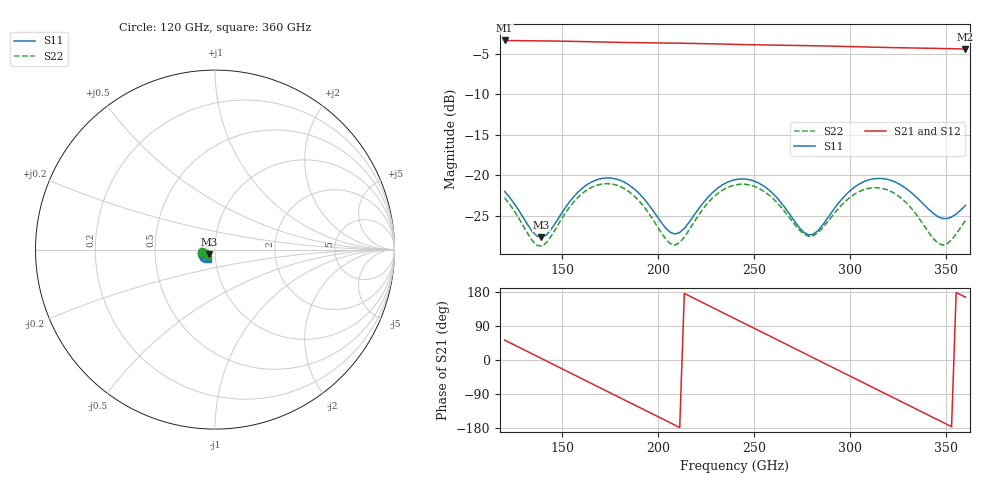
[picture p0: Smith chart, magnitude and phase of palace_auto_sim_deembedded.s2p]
! Created with skrf 1.11.0 (http://scikit-rf.org).
# GHz S DB R 50.0
!freq dBS11 angS11 dBS21 angS21 dBS12 angS12 dBS22 angS22
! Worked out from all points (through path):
!   101 points, 120 GHz to 360 GHz, reference 50 ohm
!   highest |S21| = -3.39 dB at 120 GHz (marker M1); lowest = -4.4 dB at 360 GHz (marker M2)
!   group delay of S21, straight-line fit = 7.02 ps
!   lowest |S11| = -27.6 dB at 139.2 GHz (marker M3), VSWR 1.09, Z = 46.8 - j2.44 ohm
!   |S11| at or under -10 dB: start of sweep to end of sweep
!   |S22| runs from -28.7 to -21.0 dB; largest |S21 - S12| = 7.5e-14
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120  -21.99 -160.8  -3.39 52.5  -3.39 52.5  -22.79 -168.3
129.6  -25.17 -163.6  -3.42 28.3  -3.42 28.3  -26.18 -171.4
139.2  -27.65 -141.1  -3.44 4.0  -3.44 4.0  -28.73 -146.8
148.8  -25.01 -120.2  -3.47 -20.4  -3.47 -20.4  -25.72 -126.5
160.8  -21.53 -126.1  -3.53 -50.8  -3.53 -50.8  -22.17 -134.5
170.4  -20.40 -139.2  -3.58 -75.1  -3.58 -75.1  -21.08 -148.9
180  -20.60 -153.3  -3.63 -99.3  -3.63 -99.3  -21.36 -164.1
189.6  -22.13 -164.6  -3.66 -123.5  -3.66 -123.5  -23.04 -176.5
201.6  -25.80 -163.6  -3.70 -153.8  -3.70 -153.8  -27.09 -175.6
208.8  -27.23 -145.8  -3.72 -172.1  -3.72 -172.1  -28.59 -155.3
218.4  -25.01 -125.4  -3.76 163.6  -3.76 163.6  -25.86 -134.4
240  -20.54 -140.7  -3.87 108.9  -3.87 108.9  -21.19 -153.3
249.6  -20.68 -153.7  -3.92 84.7  -3.92 84.7  -21.32 -167.2
259.2  -22.13 -164.4  -3.96 60.5  -3.96 60.5  -22.73 -178.6
271.2  -25.72 -163.8  -4.00 30.2  -4.00 30.2  -26.10 -179.0
280.8  -27.26 -139.0  -4.04 5.9  -4.04 5.9  -27.44 -158.0
292.8  -23.76 -121.3  -4.10 -24.5  -4.10 -24.5  -24.38 -143.6
304.8  -21.07 -129.5  -4.17 -54.9  -4.17 -54.9  -21.99 -153.2
321.6  -20.66 -149.4  -4.27 -97.2  -4.27 -97.2  -22.03 -175.6
333.6  -22.50 -158.3  -4.32 -127.4  -4.32 -127.4  -24.57 173.9
348  -25.31 -145.1  -4.38 -163.8  -4.38 -163.8  -28.60 -164.4
360  -23.72 -126.7  -4.45 165.9  -4.45 165.9  -25.58 -140.7
